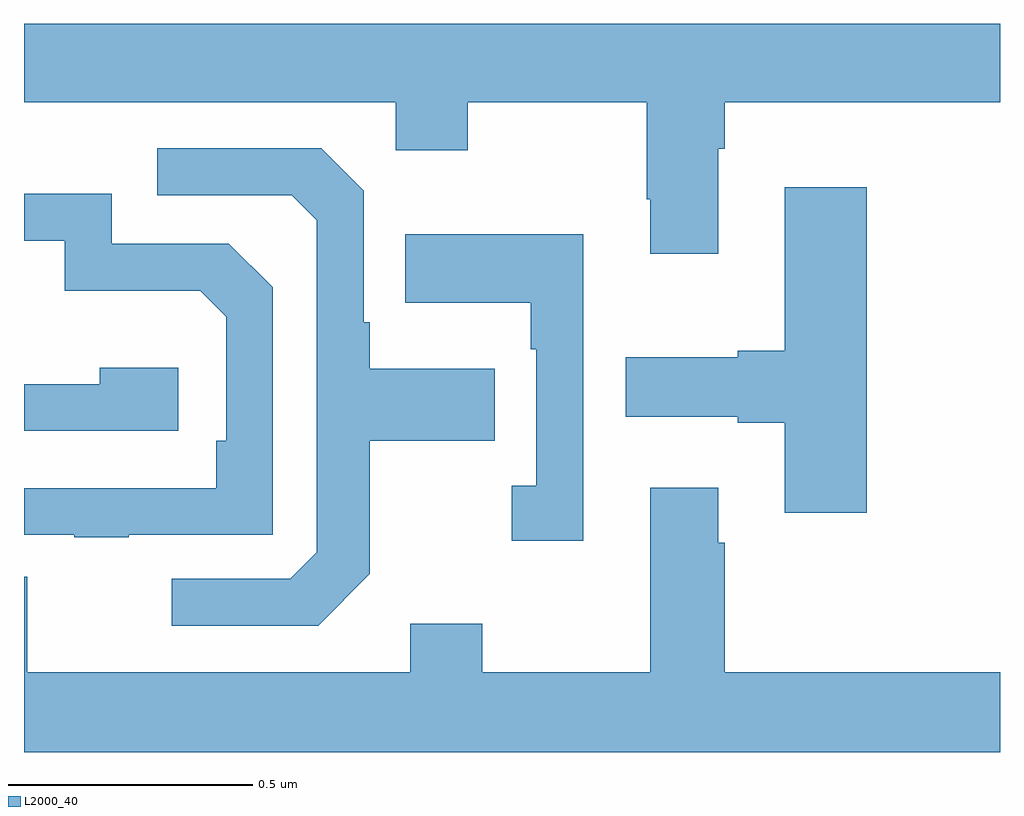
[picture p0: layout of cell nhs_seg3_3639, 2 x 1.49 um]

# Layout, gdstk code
import gdstk
lib = gdstk.Library(unit=1e-6, precision=1e-09)
def P(c, l, *ps):  # polygons
    for p in ps: c.add(gdstk.Polygon(p, *l))
L2000_40 = (2000, 40)

nhs_seg3_3639 = lib.new_cell('nhs_seg3_3639')
P(nhs_seg3_3639, L2000_40, [(157.423,710.144),(157.436,710.144),(157.436,710.24),(158,710.24),(158,710.4),(156,710.4),(156,710.24),(156.762,710.24),(156.762,710.141),(156.909,710.141),(156.909,710.24),(157.276,710.24),(157.276,710.041),(157.283,710.041),(157.283,709.929),(157.423,709.929)],
  [(156.709,709.273),(156.709,709.546),(156.965,709.546),(156.965,709.693),(156.709,709.693),(156.709,709.789),(156.696,709.789),(156.696,710.058),(156.609,710.145),(156.273,710.145),(156.273,710.049),(156.549,710.049),(156.6,709.998),(156.6,709.317),(156.546,709.263),(156.303,709.263),(156.303,709.167),(156.603,709.167)],
  [(157.727,710.065),(157.559,710.065),(157.559,709.73),(157.463,709.73),(157.463,709.717),(157.233,709.717),(157.233,709.595),(157.463,709.595),(157.463,709.583),(157.559,709.583),(157.559,709.398),(157.727,709.398)],
  [(156.215,709.353),(156.51,709.353),(156.51,709.86),(156.42,709.95),(156.18,709.95),(156.18,710.052),(156,710.052),(156,709.956),(156.084,709.956),(156.084,709.853),(156.361,709.853),(156.414,709.8),(156.414,709.546),(156.394,709.546),(156.394,709.449),(156,709.449),(156,709.353),(156.103,709.353),(156.103,709.348),(156.215,709.348)],
  [(157.146,709.969),(156.781,709.969),(156.781,709.829),(157.038,709.829),(157.038,709.733),(157.05,709.733),(157.05,709.454),(156.999,709.454),(156.999,709.341),(157.146,709.341)],
  [(156.316,709.696),(156.155,709.696),(156.155,709.662),(156,709.662),(156,709.566),(156.316,709.566)],
  [(158,709.072),(157.436,709.072),(157.436,709.337),(157.423,709.337),(157.423,709.45),(157.283,709.45),(157.283,709.072),(156.939,709.072),(156.939,709.171),(156.791,709.171),(156.791,709.072),(156.007,709.072),(156.007,709.267),(156,709.267),(156,708.908),(158,708.908)])

lib.write_gds('nhs_seg3_3639.gds')
